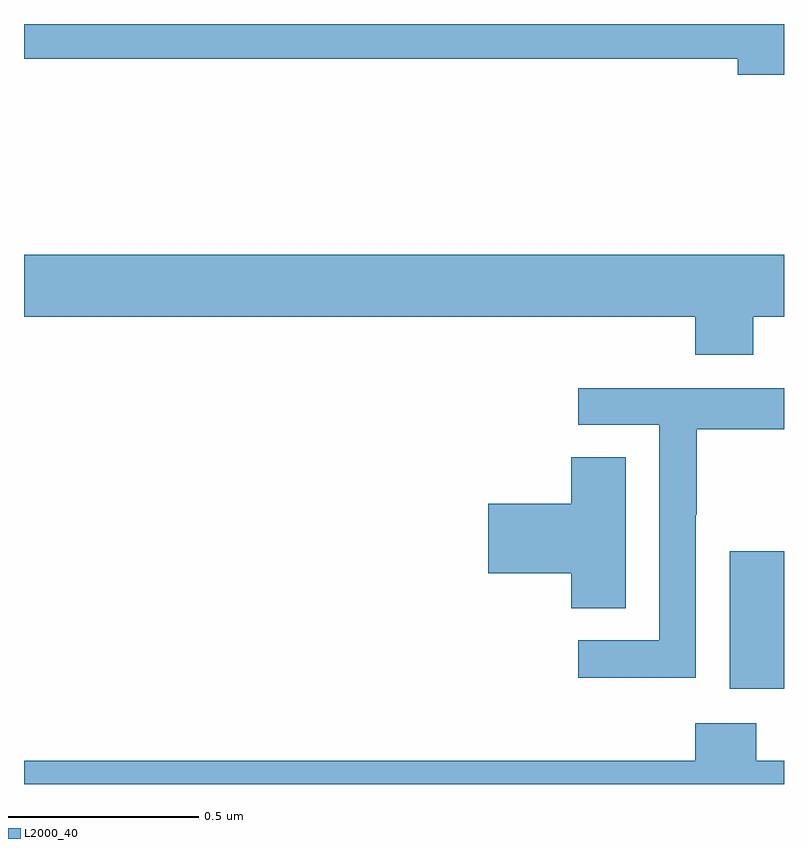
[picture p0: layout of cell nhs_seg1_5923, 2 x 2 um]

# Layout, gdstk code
import gdstk
lib = gdstk.Library(unit=1e-6, precision=1e-09)
def R(c, l, rs):  # rectangles x0, y0, x1, y1
    for r in rs: c.add(gdstk.rectangle(r[:2], r[2:], *l))
def P(c, l, *ps):  # polygons
    for p in ps: c.add(gdstk.Polygon(p, *l))
L2000_40 = (2000, 40)

nhs_seg1_5923 = lib.new_cell('nhs_seg1_5923')
R(nhs_seg1_5923, L2000_40, [(186.857,521.45,187,521.811)])
P(nhs_seg1_5923, L2000_40, [(187,523.199),(185,523.199),(185,523.108),(186.878,523.108),(186.878,523.066),(187,523.066)],
  [(186.919,522.428),(187,522.428),(187,522.592),(185,522.592),(185,522.428),(186.767,522.428),(186.767,522.329),(186.919,522.329)],
  [(186.768,521.908),(186.771,521.908),(186.771,522.132),(187,522.132),(187,522.24),(186.459,522.24),(186.459,522.144),(186.672,522.144),(186.672,521.577),(186.459,521.577),(186.459,521.479),(186.768,521.479)],
  [(186.583,522.059),(186.44,522.059),(186.44,521.936),(186.222,521.936),(186.222,521.753),(186.44,521.753),(186.44,521.662),(186.583,521.662)],
  [(187,521.26),(186.927,521.26),(186.927,521.359),(186.767,521.359),(186.767,521.26),(185,521.26),(185,521.199),(187,521.199)])

lib.write_gds('nhs_seg1_5923.gds')
